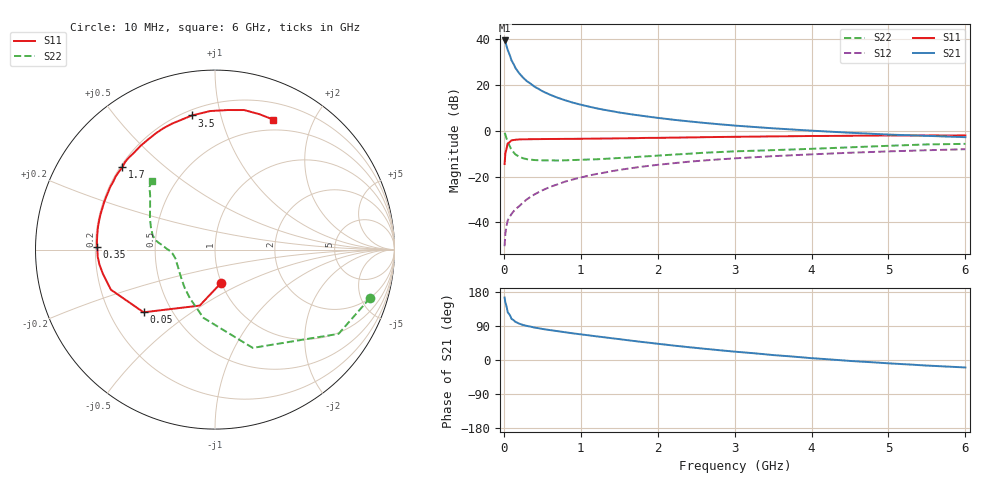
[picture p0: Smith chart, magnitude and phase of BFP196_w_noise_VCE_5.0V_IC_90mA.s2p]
! (c) 2017  Infineon Technologies AG, Munich
! Infineon Technologies  Discrete & RF Semiconductors
! BFP196
! VCE =  5.0 V,  IC =  90 mA
! Common Emitter S-Parameters:  Jan 2017
# GHz  S  MA  R  50
!  f  S11  S21  S12  S22
! GHz  MAG  ANG  MAG  ANG  MAG  ANG  MAG  ANG
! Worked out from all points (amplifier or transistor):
!   77 points, 10 MHz to 6 GHz, reference 50 ohm
!   highest |S21| = 39.6 dB at 10 MHz (marker M1)
!   |S21| within 3 dB of that: start of sweep to 39.8 MHz
!   unconditionally stable (mu >= 1): 404.6 MHz to 2.432 GHz
!   at 130 MHz: K = 0.74, MSG = 32.0 dB, |S12| = -35.1 dB
!   at 2.2 GHz: K = 1.01, MAG = 8.9 dB, |S12| = -14.2 dB
!   at 6 GHz: K = 0.95, MSG = 2.6 dB, |S12| = -8.0 dB
!   lowest NFmin = 1.90 dB at 450 MHz
!   S11 on the Smith chart (normalised r, x): 10 MHz: 1.00, -0.38; 50 MHz: 0.35, -0.34; 350 MHz: 0.21, +0.01; 1.7 GHz: 0.21, +0.37; 3.5 GHz: 0.23, +0.82; 6 GHz: 0.38, +1.48
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0.01  0.1881 -79.3  95.05 164.8  0.003 81.6  0.9045 -17.4
0.02  0.3235 -105.3  88.12 151.6  0.0057 67.5  0.8332 -34.3
0.05  0.5295 -138.7  59.13 125.9  0.0109 57.5  0.5865 -69.0
0.1  0.6214 -158.9  34.68 108.4  0.0152 56.7  0.3857 -99.6
0.15  0.6391 -167.8  23.9 100.7  0.0192 61.1  0.3059 -117.0
0.2  0.6493 -172.7  18.16 95.9  0.0225 66.2  0.2713 -128.7
0.25  0.6547 -176.5  14.6 92.4  0.0271 65.5  0.2515 -136.8
0.3  0.655 -179.2  12.22 89.9  0.0318 67.8  0.24 -143.5
0.35  0.6566 178.5  10.71 88.0  0.0363 69.0  0.2343 -147.7
0.4  0.6592 176.3  9.224 85.5  0.0408 70.0  0.2298 -152.0
0.5  0.6616 172.3  7.388 82.0  0.0499 69.6  0.2261 -157.8
0.6  0.664 169.1  6.186 78.9  0.0593 70.0  0.2261 -162.4
0.8  0.6675 163.0  4.652 73.1  0.0779 69.3  0.2269 -168.1
1.1  0.6736 154.4  3.409 65.2  0.1048 65.9  0.2361 -173.6
1.4  0.6814 146.3  2.704 57.5  0.131 62.1  0.2493 -177.8
1.7  0.691 138.3  2.247 50.0  0.1564 57.8  0.2669 179.3
2.1  0.7065 128.1  1.838 40.6  0.188 52.0  0.2946 175.4
3.1  0.7434 107.0  1.27 20.4  0.2557 38.0  0.3606 165.7
3.5  0.7582 99.8  1.137 13.0  0.2795 33.2  0.3787 160.7
4.1  0.7731 90.5  0.989 3.5  0.3112 25.6  0.4107 151.9
5.1  0.7934 76.9  0.819 -9.9  0.3596 13.8  0.4776 139.3
6  0.7936 65.8  0.728 -19.8  0.3965 3.8  0.5199 132.8
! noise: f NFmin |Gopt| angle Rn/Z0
0.45  1.9  0.53  -169  0.07
0.9  2.07  0.55  -156  0.11
1.9  2.95  0.71  -129  0.45
2.4  3.36  0.7  -115  0.94
